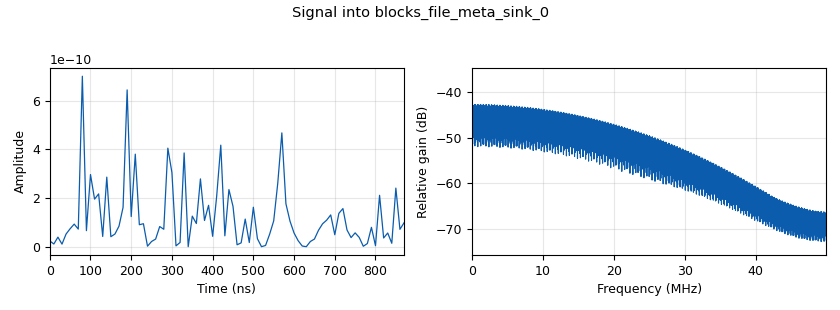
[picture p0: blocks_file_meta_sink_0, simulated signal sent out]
<?xml version='1.0' encoding='utf-8'?>
<?grc format='1' created='3.7.11'?>
<flow_graph>
<block>
<key>options</key>
<param><key>id</key><value>top_block</value></param>
<param><key>generate_options</key><value>qt_gui</value></param>
</block>
<block>
<key>variable</key>
<param><key>id</key><value>fft_length</value></param>
<param><key>value</key><value>19200</value></param>
</block>
<block>
<key>variable</key>
<param><key>id</key><value>samp_rate</value></param>
<param><key>value</key><value>100e6</value></param>
</block>
<block>
<key>blocks_add_xx</key>
<param><key>id</key><value>blocks_add_xx_0</value></param>
<param><key>type</key><value>float</value></param>
</block>
<block>
<key>blocks_add_xx</key>
<param><key>id</key><value>blocks_add_xx_0_0</value></param>
<param><key>type</key><value>float</value></param>
</block>
<block>
<key>blocks_add_xx</key>
<param><key>id</key><value>blocks_add_xx_1</value></param>
<param><key>type</key><value>float</value></param>
</block>
<block>
<key>blocks_complex_to_mag_squared</key>
<param><key>id</key><value>blocks_complex_to_mag_squared_0</value></param>
</block>
<block>
<key>blocks_file_meta_sink</key>
<param><key>id</key><value>blocks_file_meta_sink_0</value></param>
<param><key>detached</key><value>True</value></param>
<param><key>extra_dict</key><value>""</value></param>
<param><key>file</key><value>/home/dawson/Documents/space_grant/rocketsat12/software_defined_radio/output_testing.txt</value></param>
<param><key>type</key><value>float</value></param>
<param><key>max_seg_size</key><value>50 * fft_length</value></param>
<param><key>rel_rate</key><value>1</value></param>
<param><key>samp_rate</key><value>samp_rate</value></param>
</block>
<block>
<key>blocks_file_sink</key>
<param><key>id</key><value>blocks_file_sink_0</value></param>
<param><key>_enabled</key><value>0</value></param>
<param><key>file</key><value>/home/dawson/Documents/space_grant/rocketsat12/software_defined_radio/output_testing.txt</value></param>
<param><key>type</key><value>float</value></param>
</block>
<block>
<key>blocks_stream_to_vector</key>
<param><key>id</key><value>blocks_stream_to_vector_0</value></param>
<param><key>type</key><value>float</value></param>
<param><key>num_items</key><value>fft_length</value></param>
</block>
<block>
<key>blocks_throttle</key>
<param><key>id</key><value>blocks_throttle_0</value></param>
<param><key>samples_per_second</key><value>samp_rate</value></param>
<param><key>type</key><value>float</value></param>
</block>
<block>
<key>blocks_vector_to_stream</key>
<param><key>id</key><value>blocks_vector_to_stream_0</value></param>
<param><key>type</key><value>complex</value></param>
<param><key>num_items</key><value>fft_length</value></param>
</block>
<block>
<key>analog_sig_source_x</key>
<param><key>id</key><value>dover_NEXRAD</value></param>
<param><key>amp</key><value>1</value></param>
<param><key>freq</key><value>30e6</value></param>
<param><key>offset</key><value>0</value></param>
<param><key>type</key><value>float</value></param>
<param><key>samp_rate</key><value>samp_rate</value></param>
<param><key>waveform</key><value>analog.GR_COS_WAVE</value></param>
</block>
<block>
<key>fft_vxx</key>
<param><key>id</key><value>fft_vxx_0</value></param>
<param><key>fft_size</key><value>fft_length</value></param>
<param><key>forward</key><value>True</value></param>
<param><key>type</key><value>float</value></param>
<param><key>shift</key><value>True</value></param>
<param><key>window</key><value>window.blackmanharris(fft_length)</value></param>
</block>
<block>
<key>analog_sig_source_x</key>
<param><key>id</key><value>philadelphia_NEXRAD</value></param>
<param><key>amp</key><value>1</value></param>
<param><key>freq</key><value>-35e6</value></param>
<param><key>offset</key><value>0</value></param>
<param><key>type</key><value>float</value></param>
<param><key>samp_rate</key><value>samp_rate</value></param>
<param><key>waveform</key><value>analog.GR_COS_WAVE</value></param>
</block>
<block>
<key>analog_sig_source_x</key>
<param><key>id</key><value>richmond_NEXRAD</value></param>
<param><key>amp</key><value>1</value></param>
<param><key>freq</key><value>-40e6</value></param>
<param><key>offset</key><value>0</value></param>
<param><key>type</key><value>float</value></param>
<param><key>samp_rate</key><value>samp_rate</value></param>
<param><key>waveform</key><value>analog.GR_COS_WAVE</value></param>
</block>
<block>
<key>analog_sig_source_x</key>
<param><key>id</key><value>sterling_NEXRAD</value></param>
<param><key>amp</key><value>1</value></param>
<param><key>freq</key><value>45e6</value></param>
<param><key>offset</key><value>0</value></param>
<param><key>type</key><value>float</value></param>
<param><key>samp_rate</key><value>samp_rate</value></param>
<param><key>waveform</key><value>analog.GR_COS_WAVE</value></param>
</block>
<connection><source_block_id>blocks_add_xx_0</source_block_id><sink_block_id>blocks_stream_to_vector_0</sink_block_id><source_key>0</source_key><sink_key>0</sink_key></connection>
<connection><source_block_id>blocks_add_xx_0_0</source_block_id><sink_block_id>blocks_add_xx_0</sink_block_id><source_key>0</source_key><sink_key>1</sink_key></connection>
<connection><source_block_id>blocks_add_xx_1</source_block_id><sink_block_id>blocks_add_xx_0</sink_block_id><source_key>0</source_key><sink_key>0</sink_key></connection>
<connection><source_block_id>blocks_complex_to_mag_squared_0</source_block_id><sink_block_id>blocks_throttle_0</sink_block_id><source_key>0</source_key><sink_key>0</sink_key></connection>
<connection><source_block_id>blocks_stream_to_vector_0</source_block_id><sink_block_id>fft_vxx_0</sink_block_id><source_key>0</source_key><sink_key>0</sink_key></connection>
<connection><source_block_id>blocks_throttle_0</source_block_id><sink_block_id>blocks_file_meta_sink_0</sink_block_id><source_key>0</source_key><sink_key>0</sink_key></connection>
<connection><source_block_id>blocks_vector_to_stream_0</source_block_id><sink_block_id>blocks_complex_to_mag_squared_0</sink_block_id><source_key>0</source_key><sink_key>0</sink_key></connection>
<connection><source_block_id>dover_NEXRAD</source_block_id><sink_block_id>blocks_add_xx_0_0</sink_block_id><source_key>0</source_key><sink_key>0</sink_key></connection>
<connection><source_block_id>fft_vxx_0</source_block_id><sink_block_id>blocks_vector_to_stream_0</sink_block_id><source_key>0</source_key><sink_key>0</sink_key></connection>
<connection><source_block_id>philadelphia_NEXRAD</source_block_id><sink_block_id>blocks_add_xx_1</sink_block_id><source_key>0</source_key><sink_key>1</sink_key></connection>
<connection><source_block_id>richmond_NEXRAD</source_block_id><sink_block_id>blocks_add_xx_1</sink_block_id><source_key>0</source_key><sink_key>0</sink_key></connection>
<connection><source_block_id>sterling_NEXRAD</source_block_id><sink_block_id>blocks_add_xx_0_0</sink_block_id><source_key>0</source_key><sink_key>1</sink_key></connection>
</flow_graph>
